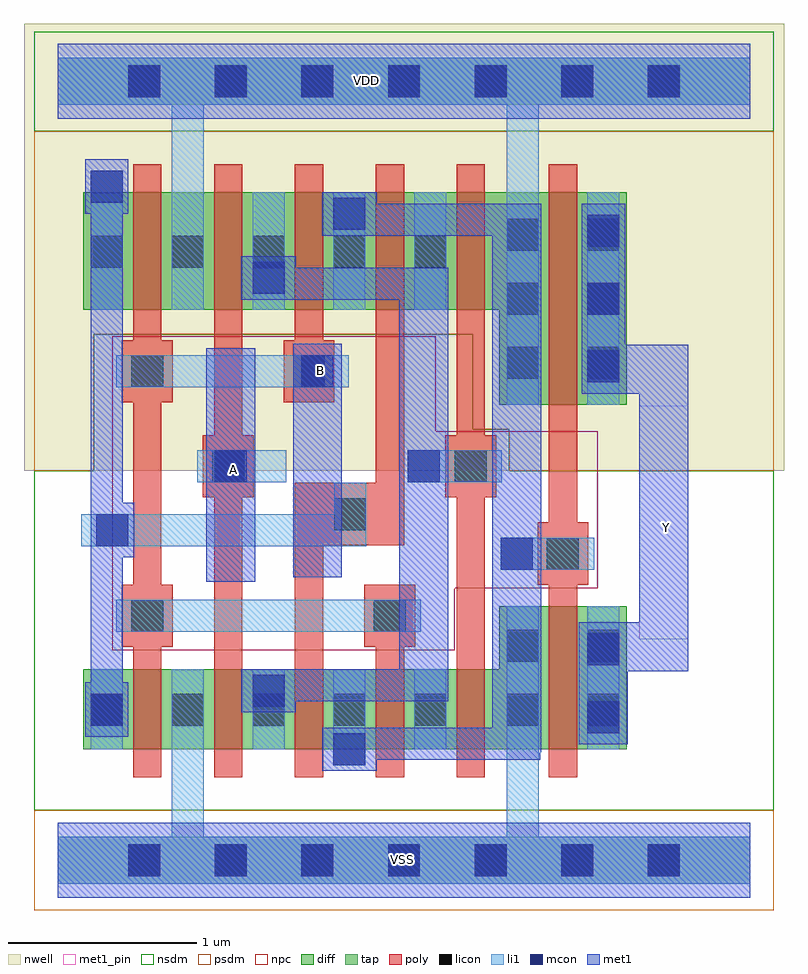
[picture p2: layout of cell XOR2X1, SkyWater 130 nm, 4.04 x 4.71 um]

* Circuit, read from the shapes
.subckt XOR2X1 A B VDD VSS Y
XM1 VSS B n1 VSS sky130_fd_pr__nfet_01v8 w=0.425 l=0.15
XM2 n2 A VSS VSS sky130_fd_pr__nfet_01v8 w=0.425 l=0.15
XM3 n3 n1 n2 VSS sky130_fd_pr__nfet_01v8 w=0.425 l=0.15
XM4 n4 B n3 VSS sky130_fd_pr__nfet_01v8 w=0.425 l=0.15
XM5 VSS n2 n4 VSS sky130_fd_pr__nfet_01v8 w=0.425 l=0.15
XM6 Y n3 VSS VSS sky130_fd_pr__nfet_01v8 w=0.76 l=0.15
XM7 VDD B n1 VDD sky130_fd_pr__pfet_01v8 w=0.625 l=0.15
XM8 n2 A VDD VDD sky130_fd_pr__pfet_01v8 w=0.625 l=0.15
XM9 n3 B n2 VDD sky130_fd_pr__pfet_01v8 w=0.625 l=0.15
XM10 n5 n1 n3 VDD sky130_fd_pr__pfet_01v8 w=0.625 l=0.15
XM11 VDD n2 n5 VDD sky130_fd_pr__pfet_01v8 w=0.625 l=0.15
XM12 Y n3 VDD VDD sky130_fd_pr__pfet_01v8 w=1.13 l=0.15
.ends

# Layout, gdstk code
from math import pi, radians
import gdstk
lib = gdstk.Library(unit=1e-6, precision=1e-09)
def R(c, l, rs):  # rectangles x0, y0, x1, y1
    for r in rs: c.add(gdstk.rectangle(r[:2], r[2:], *l))
def A(c, l, x, y, w, h, nx, ny, dx, dy):  # array of equal rectangles
    R(c, l, [(x+i*dx, y+j*dy, x+i*dx+w, y+j*dy+h) for i in range(nx) for j in range(ny)])
def P(c, l, *ps):  # polygons
    for p in ps: c.add(gdstk.Polygon(p, *l))
nwell = (64, 20)
diff = (65, 20)
tap = (65, 44)
poly = (66, 20)
licon = (66, 44)
li1 = (67, 20)
mcon = (67, 44)
met1_pin = (68, 16)
met1 = (68, 20)
nsdm = (93, 44)
psdm = (94, 20)
npc = (95, 20)

l1m1_c_cdns_758728262101 = lib.new_cell('L1M1_C_CDNS_7587282621011')
R(l1m1_c_cdns_758728262101, li1, [(-0.085,-0.165,0.085,0.085)])
R(l1m1_c_cdns_758728262101, mcon, [(-0.085,-0.085,0.085,0.085)])
R(l1m1_c_cdns_758728262101, met1, [(-0.115,-0.145,0.115,0.145)])

l1m1_c_cdns_758728262104 = lib.new_cell('L1M1_C_CDNS_758728262104')
R(l1m1_c_cdns_758728262104, li1, [(-0.085,-0.345,0.085,0.345)])
R(l1m1_c_cdns_758728262104, mcon, [(-0.085,-0.265,0.085,-0.095), (-0.085,0.095,0.085,0.265)])
R(l1m1_c_cdns_758728262104, met1, [(-0.115,-0.325,0.115,0.325)])

c_l1m1_c_cdns_758728262101 = lib.new_cell('L1M1_C_CDNS_758728262101')
R(c_l1m1_c_cdns_758728262101, li1, [(-0.085,-0.165,0.085,0.165)])
R(c_l1m1_c_cdns_758728262101, mcon, [(-0.085,-0.085,0.085,0.085)])
R(c_l1m1_c_cdns_758728262101, met1, [(-0.115,-0.145,0.115,0.145)])

pyl1con_c_cdns_758728262 = lib.new_cell('PYL1CON_C_CDNS_758728262102')
R(pyl1con_c_cdns_758728262, poly, [(-0.135,-0.165,0.135,0.165)])
R(pyl1con_c_cdns_758728262, licon, [(-0.085,-0.085,0.085,0.085)])
R(pyl1con_c_cdns_758728262, npc, [(-0.185,-0.185,0.185,0.185)])

l1m1_c_cdns_758728262100 = lib.new_cell('L1M1_C_CDNS_758728262100')
R(l1m1_c_cdns_758728262100, li1, [(-0.165,-0.085,0.165,0.085)])
R(l1m1_c_cdns_758728262100, mcon, [(-0.085,-0.085,0.085,0.085)])
R(l1m1_c_cdns_758728262100, met1, [(-0.115,-0.145,0.115,0.145)])

l1m1_c_cdns_758728262109 = lib.new_cell('L1M1_C_CDNS_758728262109')
R(l1m1_c_cdns_758728262109, li1, [(-0.085,-0.085,0.085,0.085)])
R(l1m1_c_cdns_758728262109, mcon, [(-0.085,-0.085,0.085,0.085)])
R(l1m1_c_cdns_758728262109, met1, [(-0.145,-0.115,0.145,0.115)])

licondiff_c_cdns_7587282 = lib.new_cell('LICONDIFF_C_CDNS_7587282621010')
R(licondiff_c_cdns_7587282, diff, [(-0.125,-0.145,0.125,0.145)])
R(licondiff_c_cdns_7587282, licon, [(-0.085,-0.085,0.085,0.085), (-0.085,-0.085,0.085,0.085)])

c_l1m1_c_cdns_758728262101_ = lib.new_cell('L1M1_C_CDNS_7587282621012')
R(c_l1m1_c_cdns_758728262101_, li1, [(-0.085,-0.525,0.085,0.525)])
A(c_l1m1_c_cdns_758728262101_, mcon, -0.085, -0.445, 0.17, 0.17, 1, 3, 0, 0.36)
R(c_l1m1_c_cdns_758728262101_, met1, [(-0.115,-0.505,0.115,0.505)])

c_l1m1_c_cdns_758728262101__ = lib.new_cell('L1M1_C_CDNS_7587282621013')
R(c_l1m1_c_cdns_758728262101__, li1, [(-0.085,-0.165,0.085,0.085)])
R(c_l1m1_c_cdns_758728262101__, mcon, [(-0.085,-0.085,0.085,0.085)])
R(c_l1m1_c_cdns_758728262101__, met1, [(-0.115,-0.13,0.115,0.13)])

xor2x1 = lib.new_cell('XOR2X1')
R(xor2x1, nwell, [(-0.18,2.07,3.86,4.445)])
P(xor2x1, diff, [(3.025,3.55),(0.135,3.55),(0.135,2.925),(2.345,2.925),(2.345,2.42),(3.025,2.42)],
  [(3.025,1.35),(2.345,1.35),(2.345,1.015),(0.135,1.015),(0.135,0.59),(3.025,0.59)])
R(xor2x1, poly, [(0.4,0.44,0.55,3.7), (0.83,0.44,0.98,3.7), (1.69,0.44,1.84,1.34), (2.12,0.44,2.27,3.7), (2.61,0.44,2.76,3.7), (1.26,2.6,1.41,3.7)])
P(xor2x1, poly, [(1.84,3.7),(1.69,3.7),(1.69,2.005),(1.26,2.005),(1.26,0.44),(1.41,0.44),(1.41,1.675),(1.84,1.675)])
A(xor2x1, licon, 0.375, -0.085, 0.17, 0.17, 7, 2, 0.46, 4.14)
A(xor2x1, licon, 0.175, 0.715, 0.17, 0.17, 4, 2, 0.43, 2.435)
A(xor2x1, licon, 2.385, 2.56, 0.17, 0.17, 1, 3, 0, 0.34)
A(xor2x1, licon, 2.815, 2.56, 0.17, 0.17, 1, 3, 0, 0.34)
R(xor2x1, licon, [(2.385,0.715,2.555,0.885), (2.815,0.715,2.985,0.885), (2.385,1.055,2.555,1.225), (2.815,1.055,2.985,1.225)])
R(xor2x1, li1, [(0.175,0.59,0.345,1.015), (1.035,0.59,1.205,1.015), (1.465,0.59,1.635,1.015), (2.815,0.59,2.985,1.35), (2.815,2.42,2.985,3.55), (0.175,2.925,0.345,3.55), (1.035,2.925,1.205,3.55), (1.465,2.925,1.635,3.55)])
P(xor2x1, li1, [(1.64,2.005),(1.47,2.005),(1.47,1.84),(0.25,1.84),(0.25,1.67),(1.64,1.67)],
  [(3.68,4.265),(0,4.265),(0,4.015),(0.605,4.015),(0.605,2.925),(0.775,2.925),(0.775,4.015),(2.385,4.015),(2.385,2.42),(2.555,2.42),(2.555,4.015),(3.68,4.015)],
  [(3.68,0.125),(2.555,0.125),(2.555,1.35),(2.385,1.35),(2.385,0.125),(0.775,0.125),(0.775,1.015),(0.605,1.015),(0.605,0.125),(0,0.125),(0,-0.125),(3.68,-0.125)])
A(xor2x1, mcon, 0.375, -0.085, 0.17, 0.17, 7, 2, 0.46, 4.14)
R(xor2x1, met1_pin, [(3.09,1.175,3.35,2.415), (0.79,1.48,1.05,2.72), (1.25,1.505,1.51,2.745)])
P(xor2x1, met1, [(2.075,3.15),(0.975,3.15),(0.975,2.98),(1.815,2.98),(1.815,1.015),(1.12,1.015),(1.12,0.845),(2.075,0.845)],
  [(2.57,3.49),(1.405,3.49),(1.405,3.32),(2.31,3.32),(2.31,0.705),(1.405,0.705),(1.405,0.535),(2.565,0.535),(2.565,0.575),(2.57,0.575)],
  [(3.35,2.74),(2.9,2.74),(2.9,2.48),(3.09,2.48),(3.09,1.265),(2.77,1.265),(2.77,0.615),(3.03,0.615),(3.03,1.005),(3.35,1.005)])
R(xor2x1, nsdm, [(-0.125,3.875,3.805,4.405)])
P(xor2x1, nsdm, [(3.805,2.07),(2.4,2.07),(2.4,2.29),(2.205,2.29),(2.205,2.795),(0.19,2.795),(0.19,2.07),(-0.125,2.07),(-0.125,0.265),(3.805,0.265)])
R(xor2x1, psdm, [(-0.125,-0.265,3.805,0.265)])
P(xor2x1, psdm, [(3.805,3.875),(-0.125,3.875),(-0.125,2.07),(0.19,2.07),(0.19,2.795),(2.205,2.795),(2.205,2.29),(2.4,2.29),(2.4,2.07),(3.805,2.07)])
P(xor2x1, npc, [(2.87,2.28),(2.01,2.28),(2.01,2.785),(0.29,2.785),(0.29,1.115),(2.11,1.115),(2.11,1.445),(2.87,1.445)])
xor2x1.add(gdstk.FlexPath([(2.435,1.63),(2.85,1.63)], 0.17, ends="flush", simple_path=True, layer=67, datatype=20))  # li1
xor2x1.add(gdstk.FlexPath([(1.215,2.095),(0.74,2.095)], 0.17, ends="flush", simple_path=True, layer=67, datatype=20))  # li1
xor2x1.add(gdstk.FlexPath([(0.31,2.6),(1.5,2.6)], 0.17, ends="flush", simple_path=True, layer=67, datatype=20))  # li1
xor2x1.add(gdstk.FlexPath([(0.31,1.3),(1.93,1.3)], 0.17, ends="flush", simple_path=True, layer=67, datatype=20))  # li1
xor2x1.add(gdstk.FlexPath([(1.945,2.095),(2.36,2.095)], 0.17, ends="flush", simple_path=True, layer=67, datatype=20))  # li1
xor2x1.add(gdstk.FlexPath([(1.98,2.925),(1.98,3.55)], 0.17, ends="flush", simple_path=True, layer=67, datatype=20))  # li1
xor2x1.add(gdstk.FlexPath([(1.98,0.59),(1.98,1.015)], 0.17, ends="flush", simple_path=True, layer=67, datatype=20))  # li1
xor2x1.add(gdstk.FlexPath([(0,0),(3.68,0)], 0.4, ends="flush", simple_path=True, layer=68, datatype=16))  # met1_pin
xor2x1.add(gdstk.FlexPath([(0,4.14),(3.68,4.14)], 0.4, ends="flush", simple_path=True, layer=68, datatype=16))  # met1_pin
xor2x1.add(gdstk.FlexPath([(0,4.14),(3.68,4.14)], 0.25, ends="flush", simple_path=True, layer=65, datatype=44))  # tap
xor2x1.add(gdstk.FlexPath([(0,0),(3.68,0)], 0.25, ends="flush", simple_path=True, layer=65, datatype=44))  # tap
xor2x1.add(gdstk.FlexPath([(0,4.14),(3.68,4.14)], 0.4, ends="flush", simple_path=True, layer=68, datatype=20))  # met1
xor2x1.add(gdstk.FlexPath([(0.26,0.655),(0.26,3.725)], 0.17, ends="flush", simple_path=True, layer=68, datatype=20))  # met1
xor2x1.add(gdstk.FlexPath([(0.92,1.48),(0.92,2.72)], 0.26, ends="flush", simple_path=True, layer=68, datatype=20))  # met1
xor2x1.add(gdstk.FlexPath([(1.38,1.505),(1.38,2.745)], 0.26, ends="flush", simple_path=True, layer=68, datatype=20))  # met1
xor2x1.add(gdstk.FlexPath([(0,0),(3.68,0)], 0.4, ends="flush", simple_path=True, layer=68, datatype=20))  # met1
xor2x1.add(gdstk.Reference(l1m1_c_cdns_758728262101, (0.26,3.58)))
xor2x1.add(gdstk.Reference(l1m1_c_cdns_758728262104, (2.9,0.94)))
xor2x1.add(gdstk.Reference(c_l1m1_c_cdns_758728262101, (0.26,0.8)))
xor2x1.add(gdstk.Reference(pyl1con_c_cdns_758728262, (2.685,1.63), rotation=pi))
xor2x1.add(gdstk.Reference(pyl1con_c_cdns_758728262, (2.195,2.095), rotation=pi))
xor2x1.add(gdstk.Reference(pyl1con_c_cdns_758728262, (0.905,2.095), rotation=pi))
xor2x1.add(gdstk.Reference(pyl1con_c_cdns_758728262, (1.335,2.6), rotation=pi))
xor2x1.add(gdstk.Reference(pyl1con_c_cdns_758728262, (0.475,2.6), rotation=pi))
xor2x1.add(gdstk.Reference(pyl1con_c_cdns_758728262, (1.555,1.84), rotation=pi))
xor2x1.add(gdstk.Reference(pyl1con_c_cdns_758728262, (1.765,1.3), rotation=pi))
xor2x1.add(gdstk.Reference(pyl1con_c_cdns_758728262, (0.475,1.3), rotation=pi))
xor2x1.add(gdstk.Reference(l1m1_c_cdns_758728262100, (1.38,2.6), x_reflection=True))
xor2x1.add(gdstk.Reference(l1m1_c_cdns_758728262100, (0.92,2.095), x_reflection=True))
xor2x1.add(gdstk.Reference(l1m1_c_cdns_758728262100, (0.29,1.755), rotation=pi, x_reflection=True))
xor2x1.add(gdstk.Reference(l1m1_c_cdns_758728262109, (1.55,3.435), rotation=pi))
xor2x1.add(gdstk.Reference(l1m1_c_cdns_758728262109, (1.12,0.9), rotation=pi))
xor2x1.add(gdstk.Reference(l1m1_c_cdns_758728262109, (1.55,0.59), rotation=pi))
xor2x1.add(gdstk.Reference(l1m1_c_cdns_758728262109, (1.12,3.095), rotation=pi))
xor2x1.add(gdstk.Reference(licondiff_c_cdns_7587282, (1.98,0.8)))
xor2x1.add(gdstk.Reference(licondiff_c_cdns_7587282, (1.98,3.235)))
xor2x1.add(gdstk.Reference(c_l1m1_c_cdns_758728262101_, (2.9,2.985)))
xor2x1.add(gdstk.Reference(c_l1m1_c_cdns_758728262101__, (1.945,2.095), rotation=pi/2))
xor2x1.add(gdstk.Reference(c_l1m1_c_cdns_758728262101__, (2.44,1.63), rotation=pi/2))
xor2x1.add(gdstk.Label('VDD', (1.64,4.145), layer=68, texttype=5))
xor2x1.add(gdstk.Label('B', (1.395,2.605), layer=68, texttype=5))
xor2x1.add(gdstk.Label('Y', (3.235,1.77), layer=68, texttype=5))
xor2x1.add(gdstk.Label('A', (0.935,2.075), layer=68, texttype=5))
xor2x1.add(gdstk.Label('VSS', (1.83,0.005), layer=68, texttype=5))

lib.write_gds('XOR2X1.gds')
